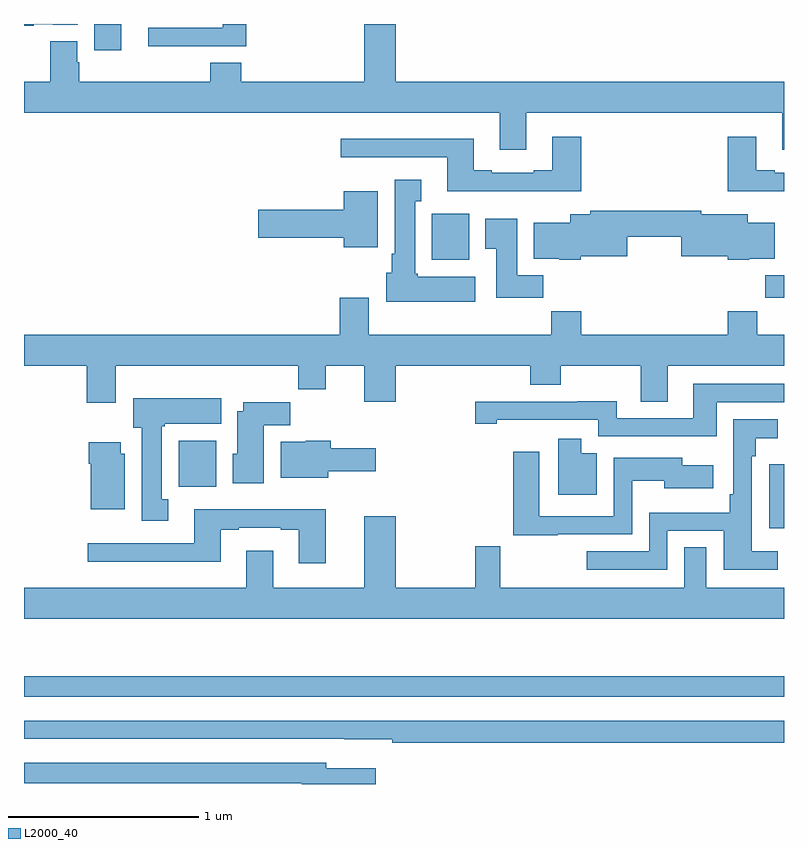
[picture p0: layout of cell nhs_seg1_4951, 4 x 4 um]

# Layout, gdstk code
import gdstk
lib = gdstk.Library(unit=1e-6, precision=1e-09)
def R(c, l, rs):  # rectangles x0, y0, x1, y1
    for r in rs: c.add(gdstk.rectangle(r[:2], r[2:], *l))
def P(c, l, *ps):  # polygons
    for p in ps: c.add(gdstk.Polygon(p, *l))
L2000_40 = (2000, 40)

nhs_seg1_4951 = lib.new_cell('nhs_seg1_4951')
R(nhs_seg1_4951, L2000_40, [(379,548.658,383,548.767), (382.922,549.546,383,549.883), (379.814,549.764,380.011,550.006), (382.9,550.758,383,550.876), (381.146,550.958,381.343,551.2), (379.37,552.06,379.513,552.199)])
P(nhs_seg1_4951, L2000_40, [(381.643,551.732),(382.991,551.732),(382.991,551.538),(383,551.538),(383,551.896),(380.956,551.896),(380.956,552.199),(380.792,552.199),(380.792,551.896),(380.144,551.896),(380.144,551.995),(379.979,551.995),(379.979,551.896),(379.292,551.896),(379.292,551.997),(379.279,551.997),(379.279,552.109),(379.139,552.109),(379.139,551.896),(379,551.896),(379,551.732),(381.503,551.732),(381.503,551.538),(381.643,551.538)],
  [(380.171,552.199),(380.045,552.199),(380.045,552.18),(379.653,552.18),(379.653,552.083),(380.171,552.083)],
  [(379.052,552.197),(379.152,552.197),(379.152,552.194),(379.282,552.194),(379.282,552.199),(379,552.199),(379,552.19),(379.052,552.19)],
  [(381.932,551.605),(381.779,551.605),(381.779,551.428),(381.683,551.428),(381.683,551.415),(381.463,551.415),(381.463,551.428),(381.367,551.428),(381.367,551.596),(380.667,551.596),(380.667,551.499),(381.227,551.499),(381.227,551.318),(381.932,551.318)],
  [(383,551.415),(382.951,551.415),(382.951,551.428),(382.855,551.428),(382.855,551.605),(382.703,551.605),(382.703,551.318),(383,551.318)],
  [(381.376,550.87),(381.072,550.87),(381.072,550.884),(381.058,550.884),(381.058,551.267),(381.091,551.267),(381.091,551.38),(380.951,551.38),(380.951,550.99),(380.936,550.99),(380.936,550.89),(380.906,550.89),(380.906,550.736),(381.376,550.736)],
  [(380.863,551.32),(380.684,551.32),(380.684,551.222),(380.232,551.222),(380.232,551.075),(380.684,551.075),(380.684,551.024),(380.863,551.024)],
  [(381.93,550.976),(382.174,550.976),(382.174,551.08),(382.46,551.08),(382.46,550.976),(382.704,550.976),(382.704,550.958),(382.818,550.958),(382.818,550.964),(382.951,550.964),(382.951,551.152),(382.81,551.152),(382.81,551.197),(382.564,551.197),(382.564,551.216),(381.979,551.216),(381.979,551.197),(381.875,551.197),(381.875,551.152),(381.683,551.152),(381.683,550.964),(381.816,550.964),(381.816,550.958),(381.93,550.958)],
  [(381.734,550.876),(381.595,550.876),(381.595,551.173),(381.428,551.173),(381.428,551.017),(381.485,551.017),(381.485,550.758),(381.734,550.758)],
  [(379.483,550.4),(380.443,550.4),(380.443,550.276),(380.587,550.276),(380.587,550.4),(380.792,550.4),(380.792,550.212),(380.956,550.212),(380.956,550.4),(381.665,550.4),(381.665,550.301),(381.825,550.301),(381.825,550.4),(382.247,550.4),(382.247,550.21),(382.387,550.21),(382.387,550.4),(383,550.4),(383,550.564),(382.859,550.564),(382.859,550.688),(382.703,550.688),(382.703,550.564),(381.932,550.564),(381.932,550.688),(381.775,550.688),(381.775,550.564),(380.815,550.564),(380.815,550.759),(380.663,550.759),(380.663,550.564),(379,550.564),(379,550.4),(379.331,550.4),(379.331,550.206),(379.483,550.206)],
  [(382.645,550.209),(383,550.209),(383,550.305),(382.523,550.305),(382.523,550.125),(382.119,550.125),(382.119,550.214),(381.913,550.214),(381.913,550.212),(381.375,550.212),(381.375,550.096),(381.487,550.096),(381.487,550.115),(381.716,550.115),(381.716,550.116),(382.023,550.116),(382.023,550.029),(382.645,550.029)],
  [(379.759,549.698),(379.726,549.698),(379.726,550.081),(379.74,550.081),(379.74,550.094),(380.038,550.094),(380.038,550.228),(379.574,550.228),(379.574,550.074),(379.619,550.074),(379.619,549.585),(379.759,549.585)],
  [(380.263,550.088),(380.402,550.088),(380.402,550.207),(380.153,550.207),(380.153,550.162),(380.123,550.162),(380.123,549.936),(380.099,549.936),(380.099,549.782),(380.263,549.782)],
  [(382.386,549.531),(382.682,549.531),(382.682,549.327),(382.966,549.327),(382.966,549.423),(382.83,549.423),(382.83,549.923),(382.85,549.923),(382.85,550.019),(382.966,550.019),(382.966,550.12),(382.734,550.12),(382.734,549.724),(382.714,549.724),(382.714,549.627),(382.29,549.627),(382.29,549.423),(381.963,549.423),(381.963,549.327),(382.386,549.327)],
  [(382.015,549.94),(381.934,549.94),(381.934,550.015),(381.812,550.015),(381.812,549.722),(382.015,549.722)],
  [(380.602,549.845),(380.851,549.845),(380.851,549.967),(380.615,549.967),(380.615,550.006),(380.484,550.006),(380.484,550),(380.351,550),(380.351,549.812),(380.602,549.812)],
  [(379.531,549.936),(379.51,549.936),(379.51,549.997),(379.34,549.997),(379.34,549.884),(379.352,549.884),(379.352,549.644),(379.531,549.644)],
  [(381.808,549.513),(382.2,549.513),(382.2,549.794),(382.371,549.794),(382.371,549.755),(382.627,549.755),(382.627,549.876),(382.465,549.876),(382.465,549.916),(382.104,549.916),(382.104,549.609),(381.712,549.609),(381.712,549.949),(381.575,549.949),(381.575,549.508),(381.808,549.508)],
  [(380.587,549.646),(379.895,549.646),(379.895,549.465),(379.335,549.465),(379.335,549.368),(380.035,549.368),(380.035,549.537),(380.131,549.537),(380.131,549.549),(380.351,549.549),(380.351,549.537),(380.447,549.537),(380.447,549.36),(380.587,549.36)],
  [(383,549.232),(382.591,549.232),(382.591,549.446),(382.475,549.446),(382.475,549.232),(381.507,549.232),(381.507,549.451),(381.376,549.451),(381.376,549.232),(380.956,549.232),(380.956,549.607),(380.792,549.607),(380.792,549.232),(380.311,549.232),(380.311,549.427),(380.171,549.427),(380.171,549.232),(379,549.232),(379,549.068),(383,549.068)],
  [(383,548.532),(379,548.532),(379,548.436),(380.686,548.436),(380.686,548.435),(380.938,548.435),(380.938,548.416),(383,548.416)],
  [(380.851,548.281),(380.59,548.281),(380.59,548.31),(379,548.31),(379,548.202),(380.462,548.202),(380.462,548.199),(380.851,548.199)])

lib.write_gds('nhs_seg1_4951.gds')
